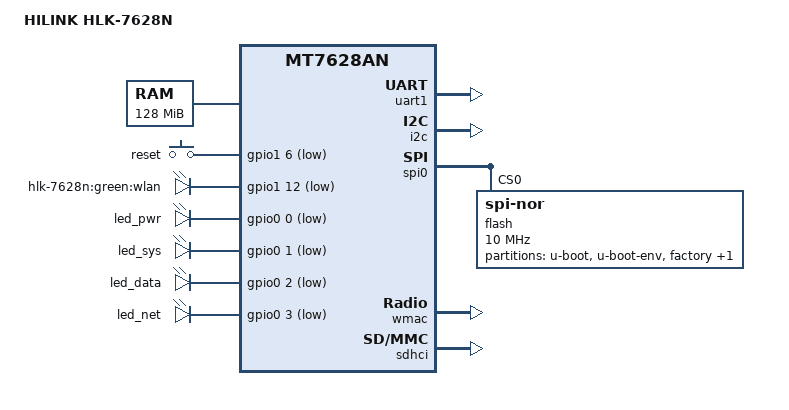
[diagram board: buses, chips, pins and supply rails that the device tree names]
// SPDX-License-Identifier: GPL-2.0-or-later OR MIT
/dts-v1/;

#include "mt7628an.dtsi"

#include <dt-bindings/gpio/gpio.h>
#include <dt-bindings/input/input.h>

/ {
	compatible = "hilink,hlk-7628n", "mediatek,mt7628an-soc";
	model = "HILINK HLK-7628N";

	memory@0 {
		device_type = "memory";
		reg = <0x0 0x8000000>;
	};

	chosen {
		bootargs = "console=ttyS0,57600";
	};

	keys {
		compatible = "gpio-keys-polled";
		poll-interval = <20>;

		reset {
			label = "reset";
			gpios = <&gpio1 6 GPIO_ACTIVE_LOW>;
			linux,code = <KEY_RESTART>;
		};
	};

	leds {
		compatible = "gpio-leds";

		wlan {
			label = "hlk-7628n:green:wlan";
			gpios = <&gpio1 12 GPIO_ACTIVE_LOW>;
		};
		led_pwr {
			label = "led_pwr";
			gpios = <&gpio0 0 GPIO_ACTIVE_LOW>;
		};
		led_sys {
			label = "led_sys";
			gpios = <&gpio0 1 GPIO_ACTIVE_LOW>;
		};
		led_data {
			label = "led_data";
			gpios = <&gpio0 2 GPIO_ACTIVE_LOW>;
		};
		led_net {
			label = "led_net";
			gpios = <&gpio0 3 GPIO_ACTIVE_LOW>;
		};	
	};
};

&pinctrl {
	state_default: pinctrl0 {
		gpio {
			ralink,group = "p1led_an", "p2led_an","p3led_an","i2s","uart2","pwm0","pwm1";
			ralink,function = "gpio";
		};
	};
};

&uart1 {
	status = "okay";
};

&i2c {
	status = "okay";
};

&spi0 {
	status = "okay";

	flash@0 { 
		compatible = "jedec,spi-nor";
		reg = <0>;
		spi-max-frequency = <10000000>;

		partitions {
			compatible = "fixed-partitions";
			#address-cells = <1>;
			#size-cells = <1>;

			partition@0 {
				label = "u-boot";
				reg = <0x0 0x30000>;
				read-only;
			};

			partition@30000 {
				label = "u-boot-env";
				reg = <0x30000 0x10000>;
				read-only;
			};

			factory: partition@40000 {
				label = "factory";
				reg = <0x40000 0x10000>;
				read-only;
			};

			partition@50000 {
				compatible = "denx,uimage";
				label = "firmware";
				reg = <0x50000 0x1fb0000>;
			};
		};
	};
};

&wmac {
	status = "okay";
};

&sdhci {
	status = "okay";
	mediatek,cd-low;
};

&i2s_pins
{
	ralink,group = "i2s";
	ralink,function = "gpio";
	status = "okay";
};

&pwm0_pins
{
	ralink,group = "pwm0";
	ralink,function = "gpio";
	status = "okay";
};

&pwm1_pins
{
	ralink,group = "pwm1";
	ralink,function = "gpio";
	status = "okay";
};

&uart2_pins
{
	ralink,group = "uart2";
	ralink,function = "gpio";
	status = "okay";
};
